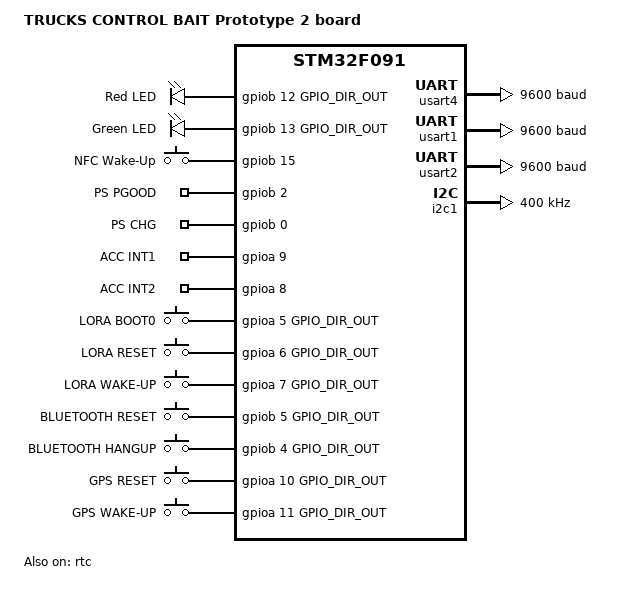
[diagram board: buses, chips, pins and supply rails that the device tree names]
/*
 * Copyright (c) 2018 Trucks Control
 *
 */

/dts-v1/;
#include <st/f0/stm32f091Xc.dtsi>

/ {
	soc {
		usart3: serial@40004800 {
			compatible = "st,stm32-usart", "st,stm32-uart";
			reg = <0x40004800 0x400>;
			clocks = <&rcc STM32_CLOCK_BUS_APB1 0x00040000>;
			interrupts = <29 0>;
			status = "disabled";
			label = "UART_3";
		};
		usart4: serial@40004c00 {
			compatible = "st,stm32-usart", "st,stm32-uart";
			reg = <0x40004c00 0x400>;
			clocks = <&rcc STM32_CLOCK_BUS_APB1 0x00080000>;
			interrupts = <29 0>;
			status = "disabled";
			label = "UART_4";
		};
		pinctrl: pin-controller@48000000 {
			usart3_pins_a: usart3_a {
				rx_tx {
					rx = <STM32_PIN_PB11 (STM32_PINMUX_ALT_FUNC_4 | STM32_PUPDR_NO_PULL)>;
					tx = <STM32_PIN_PB10 (STM32_PINMUX_ALT_FUNC_4 | STM32_PUSHPULL_PULLUP)>;
				};
			};
			usart4_pins_a: usart4_a {
				rx_tx {
					rx = <STM32_PIN_PA1 (STM32_PINMUX_ALT_FUNC_4 | STM32_PUPDR_NO_PULL)>;
					tx = <STM32_PIN_PA0 (STM32_PINMUX_ALT_FUNC_4 | STM32_PUSHPULL_PULLUP)>;
				};
			};
		};
                rtc: rtc@40002800 {
			compatible = "st,stm32-rtc";
			reg = <0x40002800 0x400>;
			interrupts = <2 0>;
			clocks = <&rcc STM32_CLOCK_BUS_APB1 0x10000000>;
			prescaler = <32768>;
			status = "disabled";
			label = "RTC_0";
		};
	};
};

/ {
	model = "TRUCKS CONTROL BAIT Prototype 2 board";
	compatible = "st,stm32f091";

	chosen {
		zephyr,console = &usart2;
		zephyr,shell-uart = &usart2;
		// zephyr,uart-mcumgr = &usart2;
		zephyr,sram = &sram0;
		zephyr,flash = &flash0;
		zephyr,code-partition = &slot0_partition;
	};

	leds {
		compatible = "gpio-leds";
		ext_led: led_1 {
			gpios = <&gpiob 12 GPIO_DIR_OUT>;
			label = "Red LED";
		};
		green_led: led_2 {
			gpios = <&gpiob 13 GPIO_DIR_OUT>;
			label = "Green LED";
		};
	};

	gpio_keys {
		compatible = "gpio-keys";
		// Entradas - Inicio
		nfc_gpo: nfc1 {
			label = "NFC Wake-Up";
			gpios = <&gpiob 15 (GPIO_DIR_IN | GPIO_INT | GPIO_PUD_PULL_UP | GPIO_INT_EDGE | GPIO_INT_DOUBLE_EDGE | GPIO_INT_DEBOUNCE)>;
		};
		ps_pgood: ps1 {
			label = "PS PGOOD";
			gpios = <&gpiob 2 (GPIO_DIR_IN | GPIO_INT | GPIO_PUD_PULL_UP | GPIO_INT_EDGE | GPIO_INT_DOUBLE_EDGE | GPIO_INT_DEBOUNCE)>;
		};
		ps_chg: ps2 {
			label = "PS CHG";
			gpios = <&gpiob 0 (GPIO_DIR_IN | GPIO_INT | GPIO_PUD_PULL_UP | GPIO_INT_EDGE | GPIO_INT_DOUBLE_EDGE | GPIO_INT_DEBOUNCE)>;
		};
		acc_int1: acc1 {
			label = "ACC INT1";
			gpios = <&gpioa 9 (GPIO_DIR_IN | GPIO_INT | GPIO_PUD_PULL_UP | GPIO_INT_EDGE | GPIO_INT_DOUBLE_EDGE | GPIO_INT_DEBOUNCE)>;
		};
		acc_int2: acc2 {
			label = "ACC INT2";
			gpios = <&gpioa 8 (GPIO_DIR_IN | GPIO_INT | GPIO_PUD_PULL_UP | GPIO_INT_EDGE | GPIO_INT_DOUBLE_EDGE | GPIO_INT_DEBOUNCE)>;
		};
		// Entradas - Fim
		// Saidas - Inicio
		lora_boot0: lora1 {
			label = "LORA BOOT0";
			gpios = <&gpioa 5 GPIO_DIR_OUT>;
		};
		lora_reset: lora2 {
			label = "LORA RESET";
			gpios = <&gpioa 6 GPIO_DIR_OUT>;
		};
		lora_wkup1: lora3 {
			label = "LORA WAKE-UP";
			gpios = <&gpioa 7 GPIO_DIR_OUT>;
		};
		bt_reset: bt1 {
			label = "BLUETOOTH RESET";
			gpios = <&gpiob 5 GPIO_DIR_OUT>;
		};
		bt_hangup: bt2 {
			label = "BLUETOOTH HANGUP";
			gpios = <&gpiob 4 GPIO_DIR_OUT>;
		};
		gps_reset: gps1 {
			label = "GPS RESET";
			gpios = <&gpioa 10 GPIO_DIR_OUT>;
		};
		gps_wakeup: gps2 {
			label = "GPS WAKE-UP";
			gpios = <&gpioa 11 GPIO_DIR_OUT>;
		};
		// Saidas - Fim
	};

	aliases {
		led-ext = &ext_led;
		led-green = &green_led;
		nfc-gpo = &nfc_gpo;
		ps-pgood = &ps_pgood;
		ps-chg = &ps_chg;
		acc-int1 = &acc_int1;
		acc-int2 = &acc_int2;
		lora-boot0 = &lora_boot0;
		lora-reset = &lora_reset;
		lora-wakeup = &lora_wkup1;
		bt-reset = &bt_reset;
		bt-hangup = &bt_hangup;
		gps-reset = &gps_reset;
		gps-wakeup = &gps_wakeup;
	};
};

// BLUETOOTH
&usart1 {
	current-speed = <9600>;
	pinctrl-0 = <&usart1_pins_a>;
	pinctrl-names = "default";
	status = "ok";
};

// CONSOLE
&usart2 {
	current-speed = <9600>;
	pinctrl-0 = <&usart2_pins_a>;
	pinctrl-names = "default";
	status = "ok";
};

// GPS
// &usart3 {
// 	current-speed = <115200>;
//  	pinctrl-0 = <&usart3_pins_a>;
//  	pinctrl-names = "default";
//  	status = "ok";
// };

// LORA
&usart4 {
	current-speed = <9600>;
	pinctrl-0 = <&usart4_pins_a>;
	pinctrl-names = "default";
	status = "ok";
};

&i2c1 {
	status = "ok";
	clock-frequency = <I2C_BITRATE_FAST>;
};


&rtc {
	status = "ok";
};

&flash0 {
	/*
	 * For more information, see:
	 * http://docs.zephyrproject.org/latest/devices/dts/flash_partitions.html
	 */
	partitions {
		compatible = "fixed-partitions";
		#address-cells = <1>;
		#size-cells = <1>;

		// There are 64 sectors of 4kB
		boot_partition: partition@0 {
			label = "mcuboot";
			reg = <0x00000000 0xC000>; // 12 sectors (48KB)
		};
		slot1_partition: partition@c000 {
			label = "image-1";
			reg = <0x0000C000 0x18000>; // 24 sectors (96KB)
		};
		slot0_partition: partition@24000 {
			label = "image-0";
			reg = <0x00024000 0x18000>; // 24 sectors (96KB)
		};
		scratch_partition: partition@3c000 {
			label = "image-scratch";
			reg = <0x003C000 0x2000>; // 2 sectors (8KB)
		};
		storage_partition: partition@3E000 {
			label = "storage";
			reg = <0x003E000 0x2000>; // 2 sectors (8KB)
		};
	};
};
